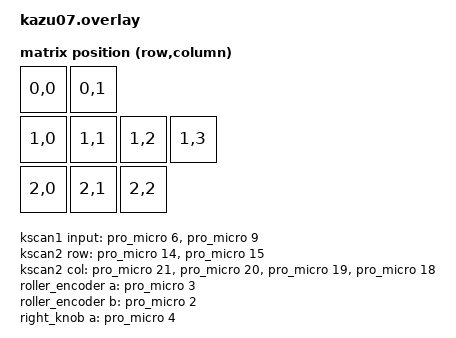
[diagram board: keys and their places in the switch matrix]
/*
 * Copyright (c) 2021 The ZMK Contributors
 *
 * SPDX-License-Identifier: MIT
 */

#include <dt-bindings/zmk/matrix_transform.h>

#include "kazu07-layout.dtsi"

/ {
    chosen {
        zephyr,display = &oled;
        zmk,kscan = &kscan0;
        zmk,physical-layouts = &all_1u_layout;
    };

    kscan0: kscan_composite {
        compatible = "zmk,kscan-composite";
        rows = <3>;
        columns = <4>;

        direct {
            kscan = <&kscan1>;
        };

        matrix {
            kscan = <&kscan2>;
            row-offset = <1>;
        };

    };

    kscan1: kscan_direct {
        compatible = "zmk,kscan-gpio-direct";
        wakeup-source;
        debounce-press-ms = <10>;
        debounce-release-ms = <10>;
        input-gpios
            = <&pro_micro 6 (GPIO_ACTIVE_LOW | GPIO_PULL_UP)>
            , <&pro_micro 9 (GPIO_ACTIVE_LOW | GPIO_PULL_UP)>
            ;
    };

    kscan2: kscan_matrix {
        compatible = "zmk,kscan-gpio-matrix";
        wakeup-source;

        diode-direction = "col2row";
        row-gpios
            = <&pro_micro 14 (GPIO_ACTIVE_HIGH | GPIO_PULL_DOWN)>
            , <&pro_micro 15 (GPIO_ACTIVE_HIGH | GPIO_PULL_DOWN)>
            ;
        col-gpios
            = <&pro_micro 21  GPIO_ACTIVE_HIGH>
            , <&pro_micro 20  GPIO_ACTIVE_HIGH>
            , <&pro_micro 19  GPIO_ACTIVE_HIGH>
            , <&pro_micro 18  GPIO_ACTIVE_HIGH>
            ;
    };

    all_1u_transform: keymap_transform_0 {
            compatible = "zmk,matrix-transform";
            columns = <4>;
            rows = <3>;
            map = <
                        RC(0,0) RC(0,1)
                        RC(1,0) RC(1,1) RC(1,2) RC(1,3)
                        RC(2,0) RC(2,1) RC(2,2)
            >;
    };

    roller_encoder: encoder_1: encoder_1 {
        compatible = "alps,ec11";
        a-gpios = <&pro_micro 3 (GPIO_ACTIVE_LOW | GPIO_PULL_UP)>;
        b-gpios = <&pro_micro 2 (GPIO_ACTIVE_LOW | GPIO_PULL_UP)>;
        steps = <80>;
        status = "disabled";
    };

    right_knob: encoder_2: encoder_2 {
        compatible = "alps,ec11";
        a-gpios = <&pro_micro 4 (GPIO_ACTIVE_LOW | GPIO_PULL_UP)>;
        b-gpios = <&pro_micro 5 (GPIO_ACTIVE_LOW | GPIO_PULL_UP)>;
        steps = <80>;
        status = "disabled";
    };

    left_knob: encoder_3: encoder_3 {
        compatible = "alps,ec11";
        a-gpios = <&pro_micro 7 (GPIO_ACTIVE_LOW | GPIO_PULL_UP)>;
        b-gpios = <&pro_micro 8 (GPIO_ACTIVE_LOW | GPIO_PULL_UP)>;
        steps = <80>;
        status = "disabled";
    };

    sensors: sensors {
        compatible = "zmk,keymap-sensors";
        sensors = <&right_knob &left_knob &roller_encoder>;
        triggers-per-rotation = <20>;
    };

};

&pro_micro_i2c {
    status = "okay";

    oled: ssd1306@3c {
        compatible = "solomon,ssd1306fb";
        reg = <0x3c>;
        width = <128>;
        height = <32>;
        segment-offset = <0>;
        page-offset = <0>;
        display-offset = <0>;
        multiplex-ratio = <31>;
        segment-remap;
        com-invdir;
        com-sequential;
        inversion-on;
        prechargep = <0x22>;
    };
};
